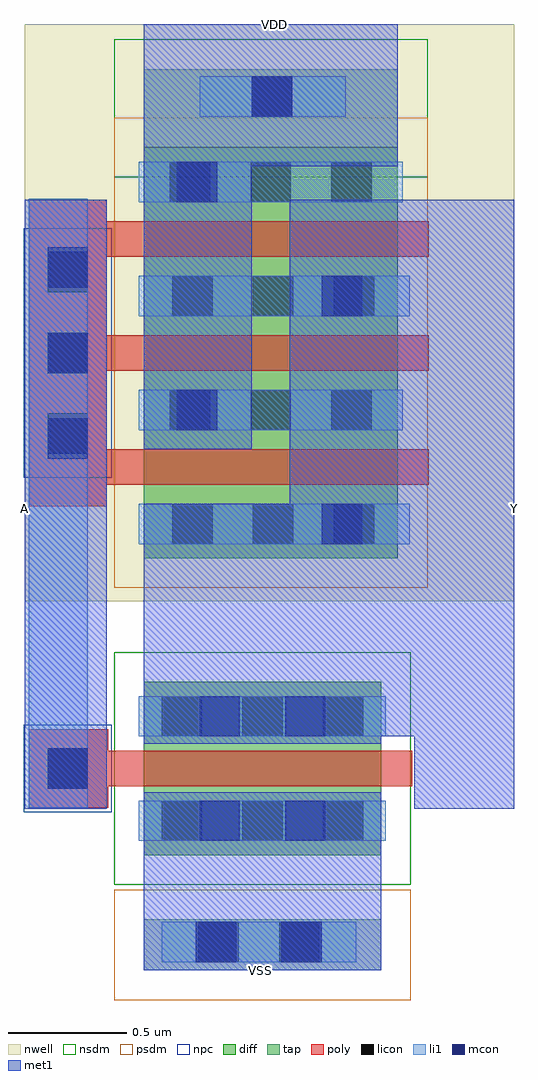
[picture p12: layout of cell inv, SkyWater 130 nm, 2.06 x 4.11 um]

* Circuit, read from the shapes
.subckt inv A VDD VSS Y
XM1 Y A VSS VSS sky130_fd_pr__nfet_01v8 w=1 l=0.15
XM2 VDD A Y VDD sky130_fd_pr__pfet_01v8 w=1.07 l=0.15 m=3
.ends

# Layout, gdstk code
from math import pi, radians
import gdstk
lib = gdstk.Library(unit=1e-6, precision=1e-09)
def R(c, l, rs):  # rectangles x0, y0, x1, y1
    for r in rs: c.add(gdstk.rectangle(r[:2], r[2:], *l))
def A(c, l, x, y, w, h, nx, ny, dx, dy):  # array of equal rectangles
    R(c, l, [(x+i*dx, y+j*dy, x+i*dx+w, y+j*dy+h) for i in range(nx) for j in range(ny)])
nwell = (64, 20)
diff = (65, 20)
tap = (65, 44)
poly = (66, 20)
licon = (66, 44)
li1 = (67, 20)
mcon = (67, 44)
met1 = (68, 20)
nsdm = (93, 44)
psdm = (94, 20)
npc = (95, 20)

sky130_fd_pr__nfet_01v8_ = lib.new_cell('sky130_fd_pr__nfet_01v8_6H9P4D')
R(sky130_fd_pr__nfet_01v8_, diff, [(-0.365,-0.5,0.365,0.5)])
R(sky130_fd_pr__nfet_01v8_, poly, [(-0.075,-0.63,0.075,0.63)])
A(sky130_fd_pr__nfet_01v8_, licon, -0.305, -0.425, 0.17, 0.17, 1, 3, 0, 0.34)
A(sky130_fd_pr__nfet_01v8_, licon, 0.135, -0.425, 0.17, 0.17, 1, 3, 0, 0.34)
R(sky130_fd_pr__nfet_01v8_, li1, [(-0.305,-0.52,-0.135,0.52), (0.135,-0.52,0.305,0.52)])
R(sky130_fd_pr__nfet_01v8_, mcon, [(-0.305,-0.265,-0.135,-0.095), (0.135,-0.265,0.305,-0.095), (-0.305,0.095,-0.135,0.265), (0.135,0.095,0.305,0.265)])
R(sky130_fd_pr__nfet_01v8_, met1, [(-0.335,-0.5,-0.105,0.5), (0.105,-0.5,0.335,0.5)])
R(sky130_fd_pr__nfet_01v8_, nsdm, [(-0.49,-0.625,0.49,0.625)])

efepmos_w107_l15_f3 = lib.new_cell('efepmos_W107-L15-F3')
R(efepmos_w107_l15_f3, nwell, [(-1.045,-1.035,1.045,0.845)])
R(efepmos_w107_l15_f3, diff, [(-0.865,-0.535,0.865,0.535)])
A(efepmos_w107_l15_f3, poly, -0.555, -0.69, 0.15, 1.355, 3, 1, 0.48, 0)
R(efepmos_w107_l15_f3, poly, [(-0.645,-1.02,0.645,-0.69)])
A(efepmos_w107_l15_f3, licon, -0.425, -0.94, 0.17, 0.17, 3, 1, 0.34, 0)
A(efepmos_w107_l15_f3, licon, -0.805, -0.425, 0.17, 0.17, 1, 3, 0, 0.34)
A(efepmos_w107_l15_f3, licon, 0.155, -0.425, 0.17, 0.17, 1, 3, 0, 0.34)
A(efepmos_w107_l15_f3, licon, -0.325, -0.415, 0.17, 0.17, 1, 3, 0, 0.34)
A(efepmos_w107_l15_f3, licon, 0.635, -0.415, 0.17, 0.17, 1, 3, 0, 0.34)
R(efepmos_w107_l15_f3, li1, [(-0.645,-0.94,0.645,-0.77), (-0.805,-0.555,-0.635,0.555), (-0.325,-0.555,-0.155,0.585), (0.155,-0.555,0.325,0.555), (0.635,-0.555,0.805,0.585)])
A(efepmos_w107_l15_f3, mcon, -0.445, -0.94, 0.17, 0.17, 3, 1, 0.36, 0)
R(efepmos_w107_l15_f3, mcon, [(-0.805,-0.395,-0.635,-0.225), (0.155,-0.395,0.325,-0.225), (-0.325,0.215,-0.155,0.385), (0.635,0.215,0.805,0.385)])
R(efepmos_w107_l15_f3, met1, [(-0.645,-1.02,0.645,-0.69), (-1.045,-0.535,0.405,-0.08), (-0.405,0.08,1.045,0.535)])
R(efepmos_w107_l15_f3, psdm, [(-0.99,-0.66,0.99,0.66)])
R(efepmos_w107_l15_f3, npc, [(-0.525,-1.04,0.525,-0.67)])

inv = lib.new_cell('inv')
R(inv, nwell, [(1.88,0,2.06,1.83), (1.63,1.44,1.715,1.45), (1.115,1.45,1.715,1.69), (0.505,1.735,0.52,1.83), (0,1.83,2.06,2.43)])
R(inv, tap, [(0.5,-1.555,1.5,-1.34), (0.5,1.91,1.57,2.24)])
R(inv, poly, [(0.015,-0.87,0.35,-0.78), (0.015,-0.78,0.375,-0.63), (0.015,-0.63,0.35,-0.54)])
R(inv, licon, [(0.73,-1.52,0.9,-1.35), (1.07,-1.52,1.24,-1.35), (0.095,-0.79,0.265,-0.62), (0.955,2.04,1.125,2.21)])
R(inv, li1, [(0.575,-1.52,1.395,-1.35), (0.015,-0.87,0.265,1.695), (0.735,2.04,1.35,2.21)])
R(inv, mcon, [(0.72,-1.52,0.89,-1.35), (1.08,-1.52,1.25,-1.35), (0.095,-0.79,0.265,-0.62), (0.955,2.04,1.125,2.21)])
R(inv, met1, [(0.5,-1.555,1.5,-0.805), (0,-0.875,0.345,0.4), (1.64,-0.875,2.06,-0.57), (0.5,-0.57,2.06,0.41), (0,0.4,0.265,1.69), (1.115,0.41,2.06,1.69), (0.505,1.735,0.52,1.83), (0.5,1.83,1.57,2.43)])
R(inv, nsdm, [(0.375,1.785,1.695,2.365)])
R(inv, psdm, [(0.375,-1.68,1.625,-1.215)])
R(inv, npc, [(-0.005,-0.89,0.365,-0.52)])
inv.add(gdstk.Reference(sky130_fd_pr__nfet_01v8_, (1,-0.705), rotation=3*pi/2))
inv.add(gdstk.Reference(efepmos_w107_l15_f3, (1.035,1.045), rotation=3*pi/2))
inv.add(gdstk.Label('A', (0,0.39), layer=68, texttype=16))
inv.add(gdstk.Label('VSS', (0.99,-1.555), layer=68, texttype=16))
inv.add(gdstk.Label('VDD', (1.05,2.43), layer=68, texttype=16))
inv.add(gdstk.Label('Y', (2.06,0.39), layer=68, texttype=16))

lib.write_gds('inv.gds')
